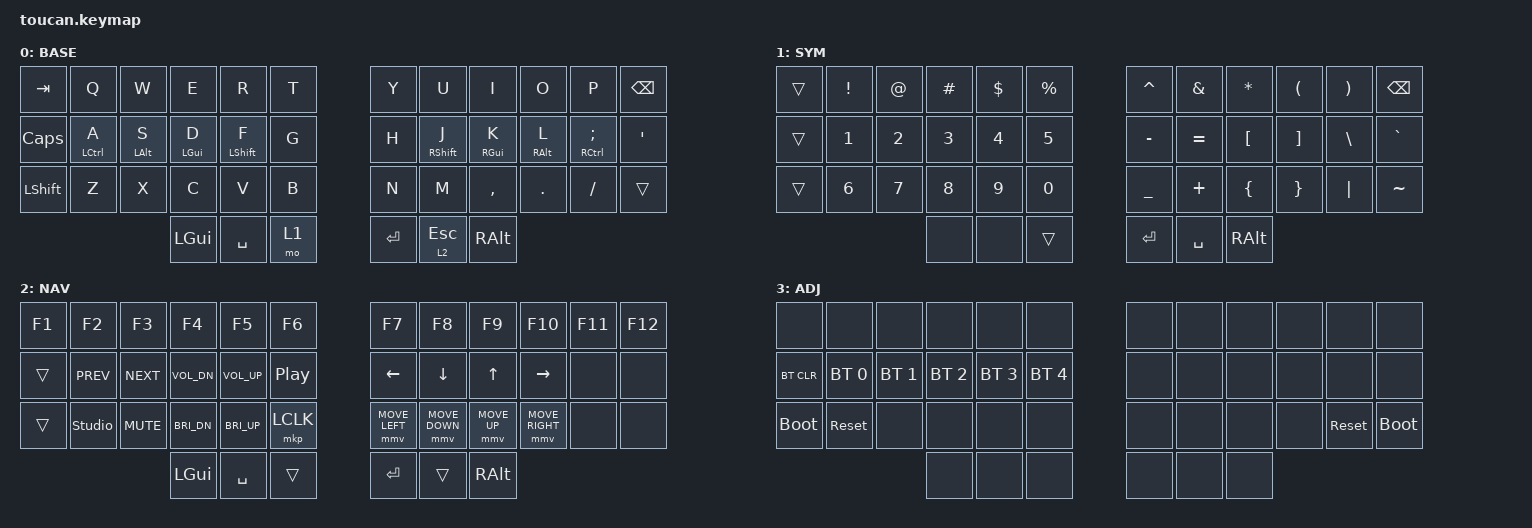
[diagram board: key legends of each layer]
#include <behaviors.dtsi>
#include <dt-bindings/zmk/bt.h>
#include <dt-bindings/zmk/keys.h>
#include <dt-bindings/zmk/mouse.h>
#include <dt-bindings/zmk/pointing.h>

// Mouse movement overrides.
// See: <https://zmk.dev/docs/keymaps/behaviors/mouse-emulation#mouse-emulation-defines>.
#define ZMK_POINTING_DEFAULT_MOVE_VAL 1500  // default 600
#define ZMK_POINTING_DEFAULT_SCRL_VAL 20    // default 10

#define BASE 0
#define SYM  1
#define NAV  2
#define ADJ  3

/ {
    behaviors {
        // https://github.com/urob/zmk-config#timeless-homerow-mods
        // Hold triggers only from opposite-hand keys + thumbs.
        // Same-hand rolls always tap.
        hml: homerow_mod_left {
            compatible = "zmk,behavior-hold-tap";
            #binding-cells = <2>;
            tapping-term-ms = <280>;
            quick-tap-ms = <0>;
            require-prior-idle-ms = <0>;
            flavor = "balanced";
            bindings = <&kp>, <&kp>;
            hold-trigger-key-positions = <6 7 8 9 10 11 18 19 20 21 22 23 30 31 32 33 34 35 39 40 41>;
            hold-trigger-on-release;
        };
        hmr: homerow_mod_right {
            compatible = "zmk,behavior-hold-tap";
            #binding-cells = <2>;
            tapping-term-ms = <280>;
            quick-tap-ms = <0>;
            require-prior-idle-ms = <0>;
            flavor = "balanced";
            bindings = <&kp>, <&kp>;
            hold-trigger-key-positions = <0 1 2 3 4 5 12 13 14 15 16 17 24 25 26 27 28 29 36 37 38>;
            hold-trigger-on-release;
        };
    };

    conditional_layers {
        compatible = "zmk,conditional-layers";

        tri_layer {
            if-layers = <1 2>;
            then-layer = <3>;
        };
    };

    // https://github.com/zmkfirmware/zmk/blob/main/app/include/dt-bindings/zmk/keys.h
    keymap {
        compatible = "zmk,keymap";

        base {
            display-name = "BASE";
            bindings = <
//    ┌──────┬─────────────┬─────────────┬─────────────┬─────────────┬──────┐   ┌─────┬─────────────┬─────────────┬─────────────┬─────────────┬──────┐
//    │ tab  │      Q      │      W      │      E      │      R      │  T   │   │  Y  │      U      │      I      │      O      │      P      │ bspc │
//    ├──────┼─────────────┼─────────────┼─────────────┼─────────────┼──────┤   ├─────┼─────────────┼─────────────┼─────────────┼─────────────┼──────┤
//    │ caps │ &hml lctl A │ &hml lalt S │ &hml lgui D │ &hml lsft F │  G   │   │  H  │ &hmr rsft J │ &hmr rgui K │ &hmr ralt L │ &hmr rctl ; │  '   │
//    ├──────┼─────────────┼─────────────┼─────────────┼─────────────┼──────┤   ├─────┼─────────────┼─────────────┼─────────────┼─────────────┼──────┤
//    │ lsft │      Z      │      X      │      C      │      V      │  B   │   │  N  │      M      │      ,      │      .      │      /      │      │
//    └──────┴─────────────┴─────────────┼─────────────┼─────────────┼──────┤   ├─────┼─────────────┼─────────────┼─────────────┴─────────────┴──────┘
//                                       │    lgui     │     spc     │ mo 1 │   │ ent │  lt 2 esc   │    ralt     │
//                                       └─────────────┴─────────────┴──────┘   └─────┴─────────────┴─────────────┘
  &kp TAB        &kp Q          &kp W         &kp E             &kp R           &kp T       &kp Y     &kp U           &kp I         &kp O         &kp P             &kp BSPC
  &kp CAPSLOCK   &hml LCTRL A   &hml LALT S   &hml LEFT_GUI D   &hml LSHIFT F   &kp G       &kp H     &hmr RSHIFT J   &hmr RGUI K   &hmr RALT L   &hmr RCTRL SEMI   &kp SQT
  &kp LSHIFT     &kp Z          &kp X         &kp C             &kp V           &kp B       &kp N     &kp M           &kp COMMA     &kp DOT       &kp FSLH          &trans
                                              &kp LGUI          &kp SPACE       &mo 1       &kp RET   &lt 2 ESC       &kp RALT
            >;
        };

        sym {
            display-name = "SYM";
            bindings = <
//    ┌─────┬───┬───┬─────┬─────┬─────┐   ┌─────┬─────┬──────┬───┬───┬──────┐
//    │     │ ! │ @ │  #  │  $  │  %  │   │  ^  │  &  │  *   │ ( │ ) │ bspc │
//    ├─────┼───┼───┼─────┼─────┼─────┤   ├─────┼─────┼──────┼───┼───┼──────┤
//    │     │ 1 │ 2 │  3  │  4  │  5  │   │  -  │  =  │  [   │ ] │ \ │  `   │
//    ├─────┼───┼───┼─────┼─────┼─────┤   ├─────┼─────┼──────┼───┼───┼──────┤
//    │     │ 6 │ 7 │  8  │  9  │  0  │   │  _  │  +  │  {   │ } │ | │  ~   │
//    └─────┴───┴───┼─────┼─────┼─────┤   ├─────┼─────┼──────┼───┴───┴──────┘
//                  │     │     │     │   │ ent │ spc │ ralt │
//                  └─────┴─────┴─────┘   └─────┴─────┴──────┘
  &trans   &kp EXCL   &kp AT   &kp HASH   &kp DLLR   &kp PRCNT       &kp CARET   &kp AMPS    &kp STAR   &kp LPAR   &kp RPAR   &kp BSPC
  &trans   &kp N1     &kp N2   &kp N3     &kp N4     &kp N5          &kp MINUS   &kp EQUAL   &kp LBKT   &kp RBKT   &kp BSLH   &kp GRAVE
  &trans   &kp N6     &kp N7   &kp N8     &kp N9     &kp N0          &kp UNDER   &kp PLUS    &kp LBRC   &kp RBRC   &kp PIPE   &kp TILDE
                               &none      &none      &trans          &kp RET     &kp SPACE   &kp RALT
            >;
        };

        nav {
            display-name = "NAV";
            bindings = <
//    ┌─────┬────────────────┬──────┬──────┬──────┬──────┐   ┌────────────────┬────────────────┬──────────────┬────────────────┬─────┬─────┐
//    │ f1  │       f2       │  f3  │  f4  │  f5  │  f6  │   │       f7       │       f8       │      f9      │      f10       │ f11 │ f12 │
//    ├─────┼────────────────┼──────┼──────┼──────┼──────┤   ├────────────────┼────────────────┼──────────────┼────────────────┼─────┼─────┤
//    │     │      prev      │ next │ vold │ volu │ play │   │      left      │      down      │      up      │      rght      │     │     │
//    ├─────┼────────────────┼──────┼──────┼──────┼──────┤   ├────────────────┼────────────────┼──────────────┼────────────────┼─────┼─────┤
//    │     │ &studio_unlock │ mute │ bri- │ bri+ │ lclk │   │ &mmv MOVE_left │ &mmv MOVE_down │ &mmv MOVE_up │ &mmv MOVE_rght │     │     │
//    └─────┴────────────────┴──────┼──────┼──────┼──────┤   ├────────────────┼────────────────┼──────────────┼────────────────┴─────┴─────┘
//                                  │ lgui │ spc  │      │   │      ent       │                │     ralt     │
//                                  └──────┴──────┴──────┘   └────────────────┴────────────────┴──────────────┘
  &kp F1   &kp F2           &kp F3       &kp F4         &kp F5         &kp F6          &kp F7           &kp F8           &kp F9         &kp F10           &kp F11   &kp F12
  &trans   &kp C_PREV       &kp C_NEXT   &kp C_VOL_DN   &kp C_VOL_UP   &kp C_PP        &kp LEFT         &kp DOWN         &kp UP         &kp RIGHT         &none     &none
  &trans   &studio_unlock   &kp C_MUTE   &kp C_BRI_DN   &kp C_BRI_UP   &mkp LCLK       &mmv MOVE_LEFT   &mmv MOVE_DOWN   &mmv MOVE_UP   &mmv MOVE_RIGHT   &none     &none
                                         &kp LGUI       &kp SPACE      &trans          &kp RET          &trans           &kp RALT
            >;
        };

        adj {
            display-name = "ADJ";
            bindings = <
//    ┌────────┬────────────┬──────────┬──────────┬──────────┬──────────┐   ┌─────┬─────┬─────┬─────┬────────────┬──────┐
//    │        │            │          │          │          │          │   │     │     │     │     │            │      │
//    ├────────┼────────────┼──────────┼──────────┼──────────┼──────────┤   ├─────┼─────┼─────┼─────┼────────────┼──────┤
//    │ bt_clr │  bt_sel 0  │ bt_sel 1 │ bt_sel 2 │ bt_sel 3 │ bt_sel 4 │   │     │     │     │     │            │      │
//    ├────────┼────────────┼──────────┼──────────┼──────────┼──────────┤   ├─────┼─────┼─────┼─────┼────────────┼──────┤
//    │  boot  │ &sys_reset │          │          │          │          │   │     │     │     │     │ &sys_reset │ boot │
//    └────────┴────────────┴──────────┼──────────┼──────────┼──────────┤   ├─────┼─────┼─────┼─────┴────────────┴──────┘
//                                     │          │          │          │   │     │     │     │
//                                     └──────────┴──────────┴──────────┘   └─────┴─────┴─────┘
  &none         &none          &none          &none          &none          &none              &none   &none   &none   &none   &none        &none
  &bt BT_CLR    &bt BT_SEL 0   &bt BT_SEL 1   &bt BT_SEL 2   &bt BT_SEL 3   &bt BT_SEL 4       &none   &none   &none   &none   &none        &none
  &bootloader   &sys_reset     &none          &none          &none          &none              &none   &none   &none   &none   &sys_reset   &bootloader
                                              &none          &none          &none              &none   &none   &none
            >;
        };

        // Define extra layers here.
    };
};
